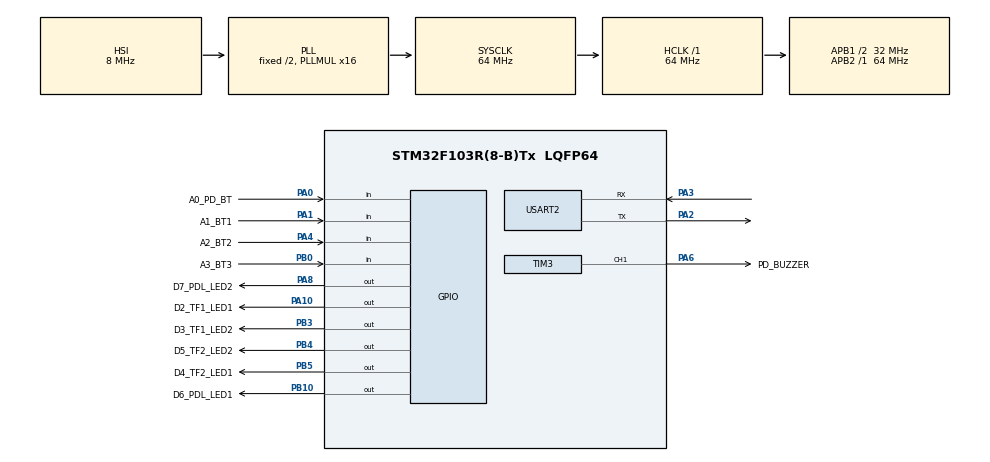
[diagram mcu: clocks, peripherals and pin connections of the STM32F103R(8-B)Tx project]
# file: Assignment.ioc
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Mcu.Family=STM32F1
Mcu.Name=STM32F103R(8-B)Tx
Mcu.Package=LQFP64
NVIC.PriorityGroup=NVIC_PRIORITYGROUP_4
NVIC.TIM2_IRQn=true\:0\:0\:false\:false\:true\:true\:true\:true
PA0-WKUP.GPIO_Label=A0_PD_BT
PA0-WKUP.GPIO_PuPd=GPIO_PULLUP
PA0-WKUP.Signal=GPIO_Input
PA1.GPIO_Label=A1_BT1
PA1.GPIO_PuPd=GPIO_PULLUP
PA1.Signal=GPIO_Input
PA10.GPIO_Label=D2_TF1_LED1
PA10.Signal=GPIO_Output
PA13.Mode=Serial_Wire
PA13.Signal=SYS_JTMS-SWDIO
PA14.Mode=Serial_Wire
PA14.Signal=SYS_JTCK-SWCLK
PA2.Mode=Asynchronous
PA2.Signal=USART2_TX
PA3.Mode=Asynchronous
PA3.Signal=USART2_RX
PA4.GPIO_Label=A2_BT2
PA4.GPIO_PuPd=GPIO_PULLUP
PA4.Signal=GPIO_Input
PA6.GPIO_Label=PD_BUZZER
PA6.Signal=S_TIM3_CH1
PA8.GPIO_Label=D7_PDL_LED2
PA8.Signal=GPIO_Output
PB0.GPIO_Label=A3_BT3
PB0.GPIO_PuPd=GPIO_PULLUP
PB0.Signal=GPIO_Input
PB10.GPIO_Label=D6_PDL_LED1
PB10.Signal=GPIO_Output
PB3.GPIO_Label=D3_TF1_LED2
PB3.Signal=GPIO_Output
PB4.GPIO_Label=D5_TF2_LED2
PB4.Signal=GPIO_Output
PB5.GPIO_Label=D4_TF2_LED1
PB5.Signal=GPIO_Output
ProjectManager.HeapSize=0x200
ProjectManager.StackSize=0x400
ProjectManager.TargetToolchain=STM32CubeIDE
RCC.AHBFreq_Value=64000000
RCC.APB1CLKDivider=RCC_HCLK_DIV2
RCC.APB1Freq_Value=32000000
RCC.APB1TimFreq_Value=64000000
RCC.APB2Freq_Value=64000000
RCC.APB2TimFreq_Value=64000000
RCC.HCLKFreq_Value=64000000
RCC.PLLMUL=RCC_PLL_MUL16
RCC.SYSCLKFreq_VALUE=64000000
RCC.SYSCLKSource=RCC_SYSCLKSOURCE_PLLCLK
RCC.USBFreq_Value=64000000
SH.S_TIM3_CH1.0=TIM3_CH1,PWM Generation1 CH1
TIM2.Period=79
TIM2.Prescaler=7999
TIM3.Channel-PWM\ Generation1\ CH1=TIM_CHANNEL_1
TIM3.Period=999
TIM3.Prescaler=63
USART2.VirtualMode=VM_ASYNC
VP_TIM2_VS_ClockSourceINT.Mode=Internal
board=custom

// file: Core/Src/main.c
/* USER CODE BEGIN Header */
/**
  ******************************************************************************
  * @file           : main.c
  * @brief          : Main program body
  ******************************************************************************
  * @attention
  *
  * Copyright (c) 2023 STMicroelectronics.
  * All rights reserved.
  *
  * This software is licensed under terms that can be found in the LICENSE file
  * in the root directory of this software component.
  * If no LICENSE file comes with this software, it is provided AS-IS.
  *
  ******************************************************************************
  */
/* USER CODE END Header */
#include "main.h"

/* USER CODE BEGIN Includes */
#include "fsm_automatic.h"
#include "fsm_manual.h"
#include "fsm_tuning.h"
#include "software_timer.h"
#include "global.h"
#include "button.h"
#include "scheduler.h"
#include "buzzer.h"
/* USER CODE END Includes */

TIM_HandleTypeDef htim2;
TIM_HandleTypeDef htim3;

UART_HandleTypeDef huart2;

void SystemClock_Config(void);
static void MX_GPIO_Init(void);
static void MX_TIM2_Init(void);
static void MX_USART2_UART_Init(void);
static void MX_TIM3_Init(void);

int main(void)
{

  /* MCU Configuration--------------------------------------------------------*/

  /* Reset of all peripherals, Initializes the Flash interface and the Systick. */
  HAL_Init();

  /* Configure the system clock */
  SystemClock_Config();

  /* Initialize all configured peripherals */
  MX_GPIO_Init();
  MX_TIM2_Init();
  MX_USART2_UART_Init();
  MX_TIM3_Init();
  /* USER CODE BEGIN 2 */
  HAL_TIM_Base_Start_IT(&htim2);
  HAL_TIM_PWM_Start(&htim3, TIM_CHANNEL_1);
  buzzer_init(TIM3);
  SCH_Init();
  /* USER CODE END 2 */

  /* Infinite loop */
  /* USER CODE BEGIN WHILE */
  status = INIT;

  SCH_Add_Task(fsm_automatic_run, 0, 1);
  SCH_Add_Task(fsm_manual_run, 0, 1);
  SCH_Add_Task(fsm_tuning_run, 0, 1);
  SCH_Add_Task(getKeyInput, 0, 1);
  SCH_Add_Task(timerRun, 0, 1);
  SCH_Add_Task(buzzer_run, 0, 1);

  while (1)
  {
	  SCH_Dispatch_Tasks();
	  //fsm_automatic_run();
	  //fsm_manual_run();
	  //fsm_tuning_run();
    /* USER CODE END WHILE */

  }
}

void SystemClock_Config(void)
{
  RCC_OscInitTypeDef RCC_OscInitStruct = {0};
  RCC_ClkInitTypeDef RCC_ClkInitStruct = {0};

  /** Initializes the RCC Oscillators according to the specified parameters
  * in the RCC_OscInitTypeDef structure.
  */
  RCC_OscInitStruct.OscillatorType = RCC_OSCILLATORTYPE_HSI;
  RCC_OscInitStruct.HSIState = RCC_HSI_ON;
  RCC_OscInitStruct.HSICalibrationValue = RCC_HSICALIBRATION_DEFAULT;
  RCC_OscInitStruct.PLL.PLLState = RCC_PLL_ON;
  RCC_OscInitStruct.PLL.PLLSource = RCC_PLLSOURCE_HSI_DIV2;
  RCC_OscInitStruct.PLL.PLLMUL = RCC_PLL_MUL16;
  if (HAL_RCC_OscConfig(&RCC_OscInitStruct) != HAL_OK)
  {
    Error_Handler();
  }

  /** Initializes the CPU, AHB and APB buses clocks
  */
  RCC_ClkInitStruct.ClockType = RCC_CLOCKTYPE_HCLK|RCC_CLOCKTYPE_SYSCLK
                              |RCC_CLOCKTYPE_PCLK1|RCC_CLOCKTYPE_PCLK2;
  RCC_ClkInitStruct.SYSCLKSource = RCC_SYSCLKSOURCE_PLLCLK;
  RCC_ClkInitStruct.AHBCLKDivider = RCC_SYSCLK_DIV1;
  RCC_ClkInitStruct.APB1CLKDivider = RCC_HCLK_DIV2;
  RCC_ClkInitStruct.APB2CLKDivider = RCC_HCLK_DIV1;

  if (HAL_RCC_ClockConfig(&RCC_ClkInitStruct, FLASH_LATENCY_2) != HAL_OK)
  {
    Error_Handler();
  }
}

static void MX_TIM2_Init(void)
{

  TIM_ClockConfigTypeDef sClockSourceConfig = {0};
  TIM_MasterConfigTypeDef sMasterConfig = {0};

  htim2.Instance = TIM2;
  htim2.Init.Prescaler = 7999;
  htim2.Init.CounterMode = TIM_COUNTERMODE_UP;
  htim2.Init.Period = 79;
  htim2.Init.ClockDivision = TIM_CLOCKDIVISION_DIV1;
  htim2.Init.AutoReloadPreload = TIM_AUTORELOAD_PRELOAD_DISABLE;
  if (HAL_TIM_Base_Init(&htim2) != HAL_OK)
  {
    Error_Handler();
  }
  sClockSourceConfig.ClockSource = TIM_CLOCKSOURCE_INTERNAL;
  if (HAL_TIM_ConfigClockSource(&htim2, &sClockSourceConfig) != HAL_OK)
  {
    Error_Handler();
  }
  sMasterConfig.MasterOutputTrigger = TIM_TRGO_RESET;
  sMasterConfig.MasterSlaveMode = TIM_MASTERSLAVEMODE_DISABLE;
  if (HAL_TIMEx_MasterConfigSynchronization(&htim2, &sMasterConfig) != HAL_OK)
  {
    Error_Handler();
  }

}

static void MX_TIM3_Init(void)
{

  TIM_MasterConfigTypeDef sMasterConfig = {0};
  TIM_OC_InitTypeDef sConfigOC = {0};

  htim3.Instance = TIM3;
  htim3.Init.Prescaler = 63;
  htim3.Init.CounterMode = TIM_COUNTERMODE_UP;
  htim3.Init.Period = 999;
  htim3.Init.ClockDivision = TIM_CLOCKDIVISION_DIV1;
  htim3.Init.AutoReloadPreload = TIM_AUTORELOAD_PRELOAD_DISABLE;
  if (HAL_TIM_PWM_Init(&htim3) != HAL_OK)
  {
    Error_Handler();
  }
  sMasterConfig.MasterOutputTrigger = TIM_TRGO_RESET;
  sMasterConfig.MasterSlaveMode = TIM_MASTERSLAVEMODE_DISABLE;
  if (HAL_TIMEx_MasterConfigSynchronization(&htim3, &sMasterConfig) != HAL_OK)
  {
    Error_Handler();
  }
  sConfigOC.OCMode = TIM_OCMODE_PWM1;
  sConfigOC.Pulse = 0;
  sConfigOC.OCPolarity = TIM_OCPOLARITY_HIGH;
  sConfigOC.OCFastMode = TIM_OCFAST_DISABLE;
  if (HAL_TIM_PWM_ConfigChannel(&htim3, &sConfigOC, TIM_CHANNEL_1) != HAL_OK)
  {
    Error_Handler();
  }
  HAL_TIM_MspPostInit(&htim3);

}

static void MX_USART2_UART_Init(void)
{

  huart2.Instance = USART2;
  huart2.Init.BaudRate = 115200;
  huart2.Init.WordLength = UART_WORDLENGTH_8B;
  huart2.Init.StopBits = UART_STOPBITS_1;
  huart2.Init.Parity = UART_PARITY_NONE;
  huart2.Init.Mode = UART_MODE_TX_RX;
  huart2.Init.HwFlowCtl = UART_HWCONTROL_NONE;
  huart2.Init.OverSampling = UART_OVERSAMPLING_16;
  if (HAL_UART_Init(&huart2) != HAL_OK)
  {
    Error_Handler();
  }

}

static void MX_GPIO_Init(void)
{
  GPIO_InitTypeDef GPIO_InitStruct = {0};

  /* GPIO Ports Clock Enable */
  __HAL_RCC_GPIOA_CLK_ENABLE();
  __HAL_RCC_GPIOB_CLK_ENABLE();

  /*Configure GPIO pin Output Level */
  HAL_GPIO_WritePin(GPIOB, D6_PDL_LED1_Pin|D3_TF1_LED2_Pin|D5_TF2_LED2_Pin|D4_TF2_LED1_Pin, GPIO_PIN_RESET);

  /*Configure GPIO pin Output Level */
  HAL_GPIO_WritePin(GPIOA, D7_PDL_LED2_Pin|D2_TF1_LED1_Pin, GPIO_PIN_RESET);

  /*Configure GPIO pins : A0_PD_BT_Pin A1_BT1_Pin A2_BT2_Pin */
  GPIO_InitStruct.Pin = A0_PD_BT_Pin|A1_BT1_Pin|A2_BT2_Pin;
  GPIO_InitStruct.Mode = GPIO_MODE_INPUT;
  GPIO_InitStruct.Pull = GPIO_PULLUP;
  HAL_GPIO_Init(GPIOA, &GPIO_InitStruct);

  /*Configure GPIO pin : A3_BT3_Pin */
  GPIO_InitStruct.Pin = A3_BT3_Pin;
  GPIO_InitStruct.Mode = GPIO_MODE_INPUT;
  GPIO_InitStruct.Pull = GPIO_PULLUP;
  HAL_GPIO_Init(A3_BT3_GPIO_Port, &GPIO_InitStruct);

  /*Configure GPIO pins : D6_PDL_LED1_Pin D3_TF1_LED2_Pin D5_TF2_LED2_Pin D4_TF2_LED1_Pin */
  GPIO_InitStruct.Pin = D6_PDL_LED1_Pin|D3_TF1_LED2_Pin|D5_TF2_LED2_Pin|D4_TF2_LED1_Pin;
  GPIO_InitStruct.Mode = GPIO_MODE_OUTPUT_PP;
  GPIO_InitStruct.Pull = GPIO_NOPULL;
  GPIO_InitStruct.Speed = GPIO_SPEED_FREQ_LOW;
  HAL_GPIO_Init(GPIOB, &GPIO_InitStruct);

  /*Configure GPIO pins : D7_PDL_LED2_Pin D2_TF1_LED1_Pin */
  GPIO_InitStruct.Pin = D7_PDL_LED2_Pin|D2_TF1_LED1_Pin;
  GPIO_InitStruct.Mode = GPIO_MODE_OUTPUT_PP;
  GPIO_InitStruct.Pull = GPIO_NOPULL;
  GPIO_InitStruct.Speed = GPIO_SPEED_FREQ_LOW;
  HAL_GPIO_Init(GPIOA, &GPIO_InitStruct);

}

/* USER CODE BEGIN 4 */
void HAL_TIM_PeriodElapsedCallback(TIM_HandleTypeDef *htim) {
	SCH_Update();
	//getKeyInput();
	//timerRun();
	//buzzer_run();
}
/* USER CODE END 4 */

void Error_Handler(void)
{
  __disable_irq();
  while (1)
  {
  }
}
